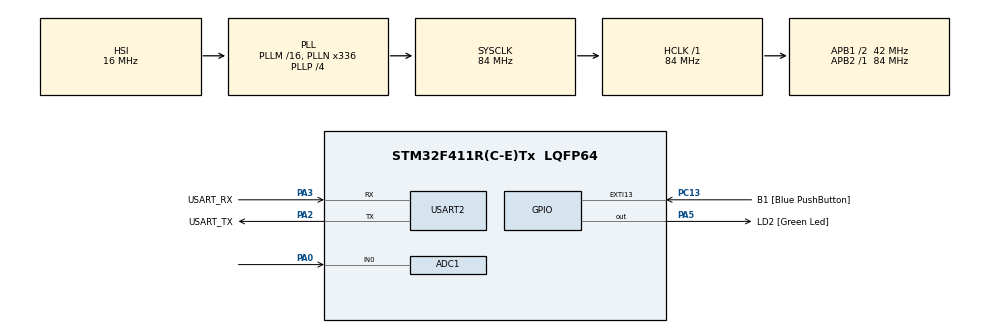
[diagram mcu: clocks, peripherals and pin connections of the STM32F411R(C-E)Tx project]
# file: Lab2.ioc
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ADC1.Channel-0\#ChannelRegularConversion=ADC_CHANNEL_0
ADC1.Channel-1\#ChannelRegularConversion=ADC_CHANNEL_TEMPSENSOR
ADC1.ContinuousConvMode=ENABLE
ADC1.DMAContinuousRequests=ENABLE
ADC1.EOCSelection=ADC_EOC_SEQ_CONV
ADC1.NbrOfConversion=2
ADC1.NbrOfConversionFlag=1
ADC1.Rank-0\#ChannelRegularConversion=1
ADC1.Rank-1\#ChannelRegularConversion=2
ADC1.SamplingTime-0\#ChannelRegularConversion=ADC_SAMPLETIME_84CYCLES
ADC1.SamplingTime-1\#ChannelRegularConversion=ADC_SAMPLETIME_84CYCLES
ADC1.ScanConvMode=ENABLE
ADC1.master=1
Dma.ADC1.0.Direction=DMA_PERIPH_TO_MEMORY
Dma.ADC1.0.FIFOMode=DMA_FIFOMODE_DISABLE
Dma.ADC1.0.Instance=DMA2_Stream0
Dma.ADC1.0.MemDataAlignment=DMA_MDATAALIGN_HALFWORD
Dma.ADC1.0.MemInc=DMA_MINC_ENABLE
Dma.ADC1.0.Mode=DMA_CIRCULAR
Dma.ADC1.0.PeriphDataAlignment=DMA_PDATAALIGN_HALFWORD
Dma.ADC1.0.PeriphInc=DMA_PINC_DISABLE
Dma.ADC1.0.Priority=DMA_PRIORITY_LOW
Dma.Request0=ADC1
Mcu.Family=STM32F4
Mcu.Name=STM32F411R(C-E)Tx
Mcu.Package=LQFP64
NVIC.ADC_IRQn=true\:0\:0\:false\:false\:true\:true\:true\:true
NVIC.DMA2_Stream0_IRQn=true\:0\:0\:false\:false\:true\:false\:true\:true
NVIC.EXTI15_10_IRQn=true\:0\:0\:false\:false\:true\:true\:true\:true
NVIC.PriorityGroup=NVIC_PRIORITYGROUP_0
PA0-WKUP.Signal=ADCx_IN0
PA13.GPIO_Label=TMS
PA13.Mode=Serial_Wire
PA13.Signal=SYS_JTMS-SWDIO
PA14.GPIO_Label=TCK
PA14.Mode=Serial_Wire
PA14.Signal=SYS_JTCK-SWCLK
PA2.GPIO_Label=USART_TX
PA2.Mode=Asynchronous
PA2.Signal=USART2_TX
PA3.GPIO_Label=USART_RX
PA3.Mode=Asynchronous
PA3.Signal=USART2_RX
PA5.GPIO_Label=LD2 [Green Led]
PA5.Signal=GPIO_Output
PB3.GPIO_Label=SWO
PB3.Signal=SYS_JTDO-SWO
PC13-ANTI_TAMP.GPIO_Label=B1 [Blue PushButton]
PC13-ANTI_TAMP.GPIO_ModeDefaultEXTI=GPIO_MODE_IT_FALLING
PC13-ANTI_TAMP.Signal=GPXTI13
PC14-OSC32_IN.Mode=LSE-External-Oscillator
PC14-OSC32_IN.Signal=RCC_OSC32_IN
PC15-OSC32_OUT.Mode=LSE-External-Oscillator
PC15-OSC32_OUT.Signal=RCC_OSC32_OUT
PH0\ -\ OSC_IN.Mode=HSE-External-Clock-Source
PH0\ -\ OSC_IN.Signal=RCC_OSC_IN
PH1\ -\ OSC_OUT.Mode=HSE-External-Clock-Source
PH1\ -\ OSC_OUT.Signal=RCC_OSC_OUT
ProjectManager.HeapSize=0x200
ProjectManager.StackSize=0x400
ProjectManager.TargetToolchain=STM32CubeIDE
RCC.48MHZClocksFreq_Value=84000000
RCC.AHBFreq_Value=84000000
RCC.APB1CLKDivider=RCC_HCLK_DIV2
RCC.APB1Freq_Value=42000000
RCC.APB1TimFreq_Value=84000000
RCC.APB2Freq_Value=84000000
RCC.APB2TimFreq_Value=84000000
RCC.CortexFreq_Value=84000000
RCC.FLatency-AdvancedSettings=FLASH_LATENCY_2
RCC.HCLKFreq_Value=84000000
RCC.HSE_VALUE=8000000
RCC.HSI_VALUE=16000000
RCC.PLLN=336
RCC.PLLP=RCC_PLLP_DIV4
RCC.SYSCLKFreq_VALUE=84000000
RCC.SYSCLKSource=RCC_SYSCLKSOURCE_PLLCLK
RCC.VCOOutputFreq_Value=336000000
SH.ADCx_IN0.0=ADC1_IN0,IN0
USART2.VirtualMode=VM_ASYNC
VP_ADC1_TempSens_Input.Mode=IN-TempSens
board=NUCLEO-F411RE

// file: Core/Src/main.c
/* USER CODE BEGIN Header */
/**
  ******************************************************************************
  * @file           : main.c
  * @brief          : Main program body
  ******************************************************************************
  * @attention
  *
  * Copyright (c) 2023 STMicroelectronics.
  * All rights reserved.
  *
  * This software is licensed under terms that can be found in the LICENSE file
  * in the root directory of this software component.
  * If no LICENSE file comes with this software, it is provided AS-IS.
  *
  ******************************************************************************
  */
/* USER CODE END Header */
#include "main.h"

ADC_HandleTypeDef hadc1;
DMA_HandleTypeDef hdma_adc1;

UART_HandleTypeDef huart2;

/* USER CODE BEGIN PV */
typedef struct //เ�?�?�?�?�?า DMA �?ดยสร�?า�? struct มาเ�?�?�?�?�?า 2 อย�?า�? �?�?ตัวเดียว
{
	uint16_t IN0;//เ�?�?�? �?า in0 value volt // Rank 1
	uint16_t Temp;//เ�?�?�? Temp // Rank 2

}ADCDMABuffer;

ADCDMABuffer adcdmabuffer[10];

// eg.  a = adcdmabuffer[0].IN0  �?ี�?ที�?ต�?. 0 เเละ�?�?า�?อ�? IN0

uint16_t AvgVin = 0; // bit
uint16_t Vin = 0; // mV

uint16_t AvgTemp = 0 ; // bit
uint16_t TemptoKevin = 0 ;  // K

/* USER CODE END PV */

void SystemClock_Config(void);
static void MX_GPIO_Init(void);
static void MX_DMA_Init(void);
static void MX_USART2_UART_Init(void);
static void MX_ADC1_Init(void);

int main(void)
{

  /* MCU Configuration--------------------------------------------------------*/

  /* Reset of all peripherals, Initializes the Flash interface and the Systick. */
  HAL_Init();

  /* Configure the system clock */
  SystemClock_Config();

  /* Initialize all configured peripherals */
  MX_GPIO_Init();
  MX_DMA_Init();
  MX_USART2_UART_Init();
  MX_ADC1_Init();
  /* USER CODE BEGIN 2 */
  HAL_ADC_Start_DMA(&hadc1, (uint32_t*) adcdmabuffer, 20);
  /* USER CODE END 2 */

  /* Infinite loop */
  while (1)
  {

    /* USER CODE BEGIN 3 */
	  //Call function every 1000 ms = 1 s =  1 Hz
		static uint32_t timestamp = 0;
		if (HAL_GetTick() >= timestamp)
		{
			timestamp = HAL_GetTick() + 1000;
//
			//register int i;
			AvgVin = 0 ;  //set start
			AvgTemp = 0 ; //set start

			for (int i = 0; i < 10; i++)
			{
				AvgVin += adcdmabuffer[i].IN0 ;
				AvgTemp += adcdmabuffer[i].Temp ;

				if (i == 9)
				{
					AvgVin = AvgVin / 10 ; // find Avg Vin
					AvgTemp = AvgTemp / 10 ; // find Avg Temp
				}
			}
				Vin = (( AvgVin * 3.3 * 1000) / 4096 )* 2;  //find Vin * 2 because voltage div
				TemptoKevin = (((( AvgTemp * 3.3 * 1000) / 4096 ) - (0.76 * 1000)) / 2.5 ) + 25 + 273.15; //find Temp
				 // V25 = 0.76 mV. = 0.76 * 10^3
				//  (( AvgTemp * 3.3 * 1000) / 4096 )  bit to mV.
				//  + 273.15   C to Kevin

				//AvgVin = 0 ;  //set start
				//AvgTemp = 0 ; //set start

		}
  }
  /* USER CODE END 3 */
}

void SystemClock_Config(void)
{
  RCC_OscInitTypeDef RCC_OscInitStruct = {0};
  RCC_ClkInitTypeDef RCC_ClkInitStruct = {0};

  /** Configure the main internal regulator output voltage
  */
  __HAL_RCC_PWR_CLK_ENABLE();
  __HAL_PWR_VOLTAGESCALING_CONFIG(PWR_REGULATOR_VOLTAGE_SCALE1);

  /** Initializes the RCC Oscillators according to the specified parameters
  * in the RCC_OscInitTypeDef structure.
  */
  RCC_OscInitStruct.OscillatorType = RCC_OSCILLATORTYPE_HSI;
  RCC_OscInitStruct.HSIState = RCC_HSI_ON;
  RCC_OscInitStruct.HSICalibrationValue = RCC_HSICALIBRATION_DEFAULT;
  RCC_OscInitStruct.PLL.PLLState = RCC_PLL_ON;
  RCC_OscInitStruct.PLL.PLLSource = RCC_PLLSOURCE_HSI;
  RCC_OscInitStruct.PLL.PLLM = 16;
  RCC_OscInitStruct.PLL.PLLN = 336;
  RCC_OscInitStruct.PLL.PLLP = RCC_PLLP_DIV4;
  RCC_OscInitStruct.PLL.PLLQ = 4;
  if (HAL_RCC_OscConfig(&RCC_OscInitStruct) != HAL_OK)
  {
    Error_Handler();
  }

  /** Initializes the CPU, AHB and APB buses clocks
  */
  RCC_ClkInitStruct.ClockType = RCC_CLOCKTYPE_HCLK|RCC_CLOCKTYPE_SYSCLK
                              |RCC_CLOCKTYPE_PCLK1|RCC_CLOCKTYPE_PCLK2;
  RCC_ClkInitStruct.SYSCLKSource = RCC_SYSCLKSOURCE_PLLCLK;
  RCC_ClkInitStruct.AHBCLKDivider = RCC_SYSCLK_DIV1;
  RCC_ClkInitStruct.APB1CLKDivider = RCC_HCLK_DIV2;
  RCC_ClkInitStruct.APB2CLKDivider = RCC_HCLK_DIV1;

  if (HAL_RCC_ClockConfig(&RCC_ClkInitStruct, FLASH_LATENCY_2) != HAL_OK)
  {
    Error_Handler();
  }
}

static void MX_ADC1_Init(void)
{

  ADC_ChannelConfTypeDef sConfig = {0};

  /** Configure the global features of the ADC (Clock, Resolution, Data Alignment and number of conversion)
  */
  hadc1.Instance = ADC1;
  hadc1.Init.ClockPrescaler = ADC_CLOCK_SYNC_PCLK_DIV4;
  hadc1.Init.Resolution = ADC_RESOLUTION_12B;
  hadc1.Init.ScanConvMode = ENABLE;
  hadc1.Init.ContinuousConvMode = ENABLE;
  hadc1.Init.DiscontinuousConvMode = DISABLE;
  hadc1.Init.ExternalTrigConvEdge = ADC_EXTERNALTRIGCONVEDGE_NONE;
  hadc1.Init.ExternalTrigConv = ADC_SOFTWARE_START;
  hadc1.Init.DataAlign = ADC_DATAALIGN_RIGHT;
  hadc1.Init.NbrOfConversion = 2;
  hadc1.Init.DMAContinuousRequests = ENABLE;
  hadc1.Init.EOCSelection = ADC_EOC_SEQ_CONV;
  if (HAL_ADC_Init(&hadc1) != HAL_OK)
  {
    Error_Handler();
  }

  /** Configure for the selected ADC regular channel its corresponding rank in the sequencer and its sample time.
  */
  sConfig.Channel = ADC_CHANNEL_0;
  sConfig.Rank = 1;
  sConfig.SamplingTime = ADC_SAMPLETIME_84CYCLES;
  if (HAL_ADC_ConfigChannel(&hadc1, &sConfig) != HAL_OK)
  {
    Error_Handler();
  }

  /** Configure for the selected ADC regular channel its corresponding rank in the sequencer and its sample time.
  */
  sConfig.Channel = ADC_CHANNEL_TEMPSENSOR;
  sConfig.Rank = 2;
  if (HAL_ADC_ConfigChannel(&hadc1, &sConfig) != HAL_OK)
  {
    Error_Handler();
  }

}

static void MX_USART2_UART_Init(void)
{

  huart2.Instance = USART2;
  huart2.Init.BaudRate = 115200;
  huart2.Init.WordLength = UART_WORDLENGTH_8B;
  huart2.Init.StopBits = UART_STOPBITS_1;
  huart2.Init.Parity = UART_PARITY_NONE;
  huart2.Init.Mode = UART_MODE_TX_RX;
  huart2.Init.HwFlowCtl = UART_HWCONTROL_NONE;
  huart2.Init.OverSampling = UART_OVERSAMPLING_16;
  if (HAL_UART_Init(&huart2) != HAL_OK)
  {
    Error_Handler();
  }

}

static void MX_DMA_Init(void)
{

  /* DMA controller clock enable */
  __HAL_RCC_DMA2_CLK_ENABLE();

  /* DMA interrupt init */
  /* DMA2_Stream0_IRQn interrupt configuration */
  HAL_NVIC_SetPriority(DMA2_Stream0_IRQn, 0, 0);
  HAL_NVIC_EnableIRQ(DMA2_Stream0_IRQn);

}

static void MX_GPIO_Init(void)
{
  GPIO_InitTypeDef GPIO_InitStruct = {0};

  /* GPIO Ports Clock Enable */
  __HAL_RCC_GPIOC_CLK_ENABLE();
  __HAL_RCC_GPIOH_CLK_ENABLE();
  __HAL_RCC_GPIOA_CLK_ENABLE();
  __HAL_RCC_GPIOB_CLK_ENABLE();

  /*Configure GPIO pin Output Level */
  HAL_GPIO_WritePin(LD2_GPIO_Port, LD2_Pin, GPIO_PIN_RESET);

  /*Configure GPIO pin : B1_Pin */
  GPIO_InitStruct.Pin = B1_Pin;
  GPIO_InitStruct.Mode = GPIO_MODE_IT_FALLING;
  GPIO_InitStruct.Pull = GPIO_NOPULL;
  HAL_GPIO_Init(B1_GPIO_Port, &GPIO_InitStruct);

  /*Configure GPIO pin : LD2_Pin */
  GPIO_InitStruct.Pin = LD2_Pin;
  GPIO_InitStruct.Mode = GPIO_MODE_OUTPUT_PP;
  GPIO_InitStruct.Pull = GPIO_NOPULL;
  GPIO_InitStruct.Speed = GPIO_SPEED_FREQ_LOW;
  HAL_GPIO_Init(LD2_GPIO_Port, &GPIO_InitStruct);

  /* EXTI interrupt init*/
  HAL_NVIC_SetPriority(EXTI15_10_IRQn, 0, 0);
  HAL_NVIC_EnableIRQ(EXTI15_10_IRQn);

}

void Error_Handler(void)
{
  __disable_irq();
  while (1)
  {
  }
}
